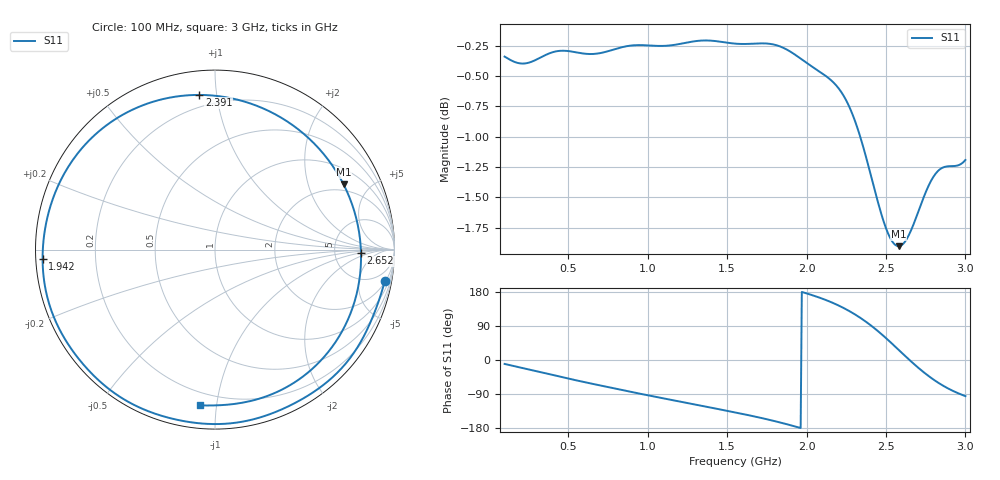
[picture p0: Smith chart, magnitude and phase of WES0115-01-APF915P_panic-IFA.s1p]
! openEMS-z2labs kicad_sim, WES0115-01-APF915P_panic-IFA.kicad_pcb
! ports: 1=SMA5 (F.Cu over B.Cu)
! stackup: file
! copper: sheet, mask: False
# Hz S RI R 50
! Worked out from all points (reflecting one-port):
!   401 points, 100 MHz to 3 GHz, reference 50 ohm
!   lowest |S11| = -1.9 dB at 2.579 GHz (marker M1), VSWR 9.16, Z = 83.2 + j171 ohm
!   phase of S11 starts at -10 deg and turns -445 deg over the sweep
!   S11 on the Smith chart (normalised r, x): 100 MHz: 2, -11; 1.942 GHz: 0.02, -0.03; 2.391 GHz: 0.13, +0.90; 2.652 GHz: 9.60, -1.15; 3 GHz: 0.12, -0.90
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1e8  0.9459 -0.1726
3.03e8  0.8331 -0.475
4.625e8  0.6808 -0.6866
6.2925e8  0.4705 -0.8413
8.25e8  0.2025 -0.9482
9.9175e8  -0.0394 -0.9711
1.1875e9  -0.3057 -0.9235
1.3615e9  -0.5257 -0.8228
1.55e9  -0.7269 -0.6475
1.7385e9  -0.8837 -0.4086
1.9125e9  -0.9586 -0.1085
1.9415e9  -0.9605 -0.0516
2.043e9  -0.9376 0.1631
2.13e9  -0.8678 0.3693
2.2025e9  -0.7519 0.5523
2.275e9  -0.5607 0.7231
2.34025e9  -0.3164 0.832
2.391e9  -0.0866 0.8618
2.44175e9  0.1607 0.8257
2.48525e9  0.3683 0.7353
2.52875e9  0.5529 0.5906
2.5795e9  0.716 0.364
2.6375e9  0.808 0.0586
2.652e9  0.8135 -0.0203
2.7245e9  0.7401 -0.391
2.81875e9  0.4672 -0.7237
2.8985e9  0.1988 -0.8434
3e9  -0.0811 -0.8679
